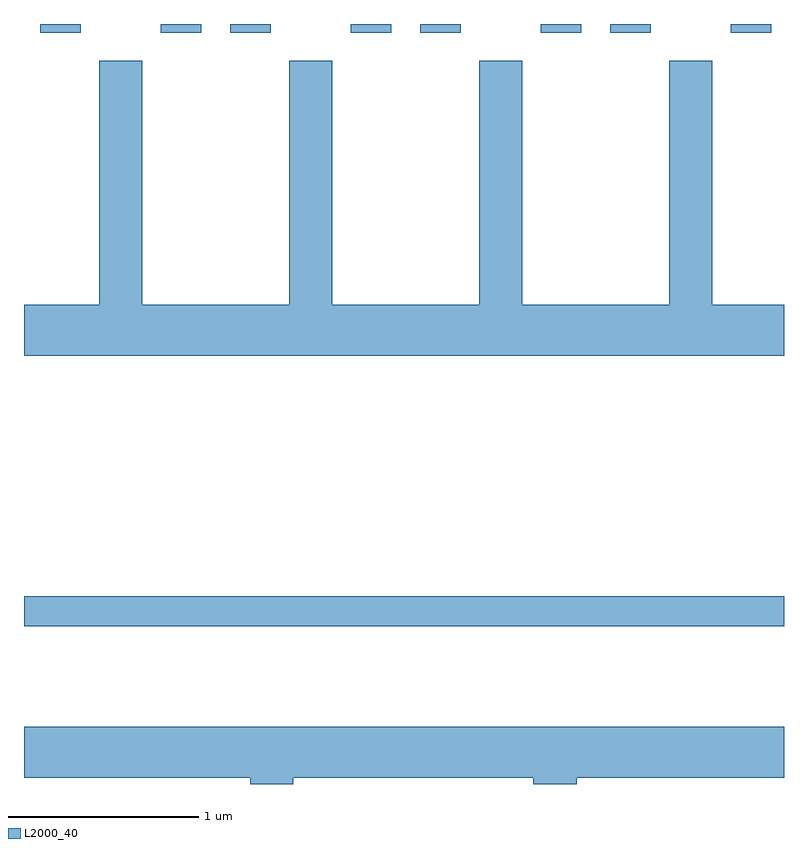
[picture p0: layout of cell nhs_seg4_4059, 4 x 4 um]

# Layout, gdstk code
import gdstk
lib = gdstk.Library(unit=1e-6, precision=1e-09)
def R(c, l, rs):  # rectangles x0, y0, x1, y1
    for r in rs: c.add(gdstk.rectangle(r[:2], r[2:], *l))
def P(c, l, *ps):  # polygons
    for p in ps: c.add(gdstk.Polygon(p, *l))
L2000_40 = (2000, 40)

nhs_seg4_4059 = lib.new_cell('nhs_seg4_4059')
R(nhs_seg4_4059, L2000_40, [(303.611,1348.811,307.611,1348.969), (303.696,1351.936,303.909,1351.982), (304.331,1351.936,304.544,1351.982), (304.696,1351.936,304.909,1351.982), (305.331,1351.936,305.544,1351.982), (305.696,1351.936,305.909,1351.982), (306.331,1351.936,306.544,1351.982), (306.696,1351.936,306.909,1351.982), (307.331,1351.936,307.544,1351.982)])
P(nhs_seg4_4059, L2000_40, [(307.611,1350.504),(307.234,1350.504),(307.234,1351.789),(307.006,1351.789),(307.006,1350.504),(306.234,1350.504),(306.234,1351.789),(306.006,1351.789),(306.006,1350.504),(305.234,1350.504),(305.234,1351.789),(305.006,1351.789),(305.006,1350.504),(304.234,1350.504),(304.234,1351.789),(304.006,1351.789),(304.006,1350.504),(303.611,1350.504),(303.611,1350.236),(307.611,1350.236)],
  [(305.029,1348.016),(306.291,1348.016),(306.291,1347.982),(306.519,1347.982),(306.519,1348.016),(307.611,1348.016),(307.611,1348.284),(303.611,1348.284),(303.611,1348.016),(304.801,1348.016),(304.801,1347.982),(305.029,1347.982)])

lib.write_gds('nhs_seg4_4059.gds')
